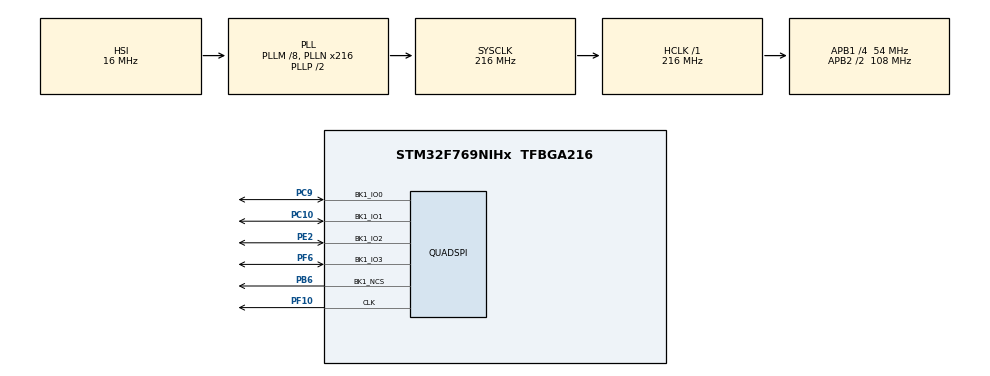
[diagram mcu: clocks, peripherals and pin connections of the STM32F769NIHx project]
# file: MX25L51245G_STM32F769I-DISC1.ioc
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Mcu.Family=STM32F7
Mcu.Name=STM32F769NIHx
Mcu.Package=TFBGA216
NVIC.PriorityGroup=NVIC_PRIORITYGROUP_4
PB6.Mode=Single Bank 1
PB6.Signal=QUADSPI_BK1_NCS
PC10.Mode=Single Bank 1
PC10.Signal=QUADSPI_BK1_IO1
PC9.Mode=Single Bank 1
PC9.Signal=QUADSPI_BK1_IO0
PE2.Mode=Single Bank 1
PE2.Signal=QUADSPI_BK1_IO2
PF10.Mode=Single Bank 1
PF10.Signal=QUADSPI_CLK
PF6.Mode=Single Bank 1
PF6.Signal=QUADSPI_BK1_IO3
PH0/OSC_IN.Mode=HSE-External-Oscillator
PH0/OSC_IN.Signal=RCC_OSC_IN
PH1/OSC_OUT.Mode=HSE-External-Oscillator
PH1/OSC_OUT.Signal=RCC_OSC_OUT
ProjectManager.HeapSize=0x200
ProjectManager.StackSize=0x400
ProjectManager.TargetToolchain=STM32CubeIDE
QUADSPI.ClockPrescaler=1
QUADSPI.FifoThreshold=4
QUADSPI.FlashSize=25
RCC.AHBFreq_Value=216000000
RCC.APB1CLKDivider=RCC_HCLK_DIV4
RCC.APB1Freq_Value=54000000
RCC.APB1TimFreq_Value=108000000
RCC.APB2CLKDivider=RCC_HCLK_DIV2
RCC.APB2Freq_Value=108000000
RCC.APB2TimFreq_Value=216000000
RCC.CortexFreq_Value=216000000
RCC.HCLKFreq_Value=216000000
RCC.PLLM=8
RCC.PLLN=216
RCC.SYSCLKFreq_VALUE=216000000
RCC.SYSCLKSource=RCC_SYSCLKSOURCE_PLLCLK
RCC.USBFreq_Value=216000000
RCC.VCOOutputFreq_Value=432000000
board=custom

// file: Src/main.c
/* USER CODE BEGIN Header */
/**
  ******************************************************************************
  * @file           : main.c
  * @brief          : Main program body
  ******************************************************************************
  * @attention
  *
  * <h2><center>&copy; Copyright (c) 2019 STMicroelectronics.
  * All rights reserved.</center></h2>
  *
  * This software component is licensed by ST under BSD 3-Clause license,
  * the "License"; You may not use this file except in compliance with the
  * License. You may obtain a copy of the License at:
  *                        opensource.org/licenses/BSD-3-Clause
  *
  ******************************************************************************
  */
/* USER CODE END Header */

#include "main.h"
#include "quadspi.h"
#include "gpio.h"

/* USER CODE BEGIN Includes */
#include <string.h>
#include "QSPI_if.h"
/* USER CODE END Includes */

void SystemClock_Config(void);

int main(void)
{
  /* USER CODE BEGIN 1 */
	uint8_t buffer[] = { "QSPI test with STM32F769 discovery board"};

  /* USER CODE END 1 */

  /* MCU Configuration--------------------------------------------------------*/

  /* Reset of all peripherals, Initializes the Flash interface and the Systick. */
  HAL_Init();

  /* Configure the system clock */
  SystemClock_Config();

  /* Initialize all configured peripherals */
  MX_GPIO_Init();
  MX_QUADSPI_Init();
  /* USER CODE BEGIN 2 */
  QSPI_ResetChip();
  QSPI_AutoPollingMemReady();
  QSPI_WriteEnable();
  QSPI_Configuration();
  QSPI_AutoPollingMemReady();
  QSPI_WriteEnable();
  QSPI_EraseSector(0, 1000);
  QSPI_AutoPollingMemReady();
  QSPI_WriteEnable();
  QSPI_WriteMemory(buffer, 0, sizeof(buffer));
  QSPI_AutoPollingMemReady();
  QSPI_EnableMemoryMappedMode();

  /* USER CODE END 2 */

  /* Infinite loop */
  while (1)
  {

  }
}

void SystemClock_Config(void)
{
  RCC_OscInitTypeDef RCC_OscInitStruct = {0};
  RCC_ClkInitTypeDef RCC_ClkInitStruct = {0};

  /** Configure the main internal regulator output voltage
  */
  __HAL_RCC_PWR_CLK_ENABLE();
  __HAL_PWR_VOLTAGESCALING_CONFIG(PWR_REGULATOR_VOLTAGE_SCALE1);
  /** Initializes the CPU, AHB and APB busses clocks
  */
  RCC_OscInitStruct.OscillatorType = RCC_OSCILLATORTYPE_HSI;
  RCC_OscInitStruct.HSIState = RCC_HSI_ON;
  RCC_OscInitStruct.HSICalibrationValue = RCC_HSICALIBRATION_DEFAULT;
  RCC_OscInitStruct.PLL.PLLState = RCC_PLL_ON;
  RCC_OscInitStruct.PLL.PLLSource = RCC_PLLSOURCE_HSI;
  RCC_OscInitStruct.PLL.PLLM = 8;
  RCC_OscInitStruct.PLL.PLLN = 216;
  RCC_OscInitStruct.PLL.PLLP = RCC_PLLP_DIV2;
  RCC_OscInitStruct.PLL.PLLQ = 2;
  if (HAL_RCC_OscConfig(&RCC_OscInitStruct) != HAL_OK)
  {
    Error_Handler();
  }
  /** Activate the Over-Drive mode
  */
  if (HAL_PWREx_EnableOverDrive() != HAL_OK)
  {
    Error_Handler();
  }
  /** Initializes the CPU, AHB and APB busses clocks
  */
  RCC_ClkInitStruct.ClockType = RCC_CLOCKTYPE_HCLK|RCC_CLOCKTYPE_SYSCLK
                              |RCC_CLOCKTYPE_PCLK1|RCC_CLOCKTYPE_PCLK2;
  RCC_ClkInitStruct.SYSCLKSource = RCC_SYSCLKSOURCE_PLLCLK;
  RCC_ClkInitStruct.AHBCLKDivider = RCC_SYSCLK_DIV1;
  RCC_ClkInitStruct.APB1CLKDivider = RCC_HCLK_DIV4;
  RCC_ClkInitStruct.APB2CLKDivider = RCC_HCLK_DIV2;

  if (HAL_RCC_ClockConfig(&RCC_ClkInitStruct, FLASH_LATENCY_7) != HAL_OK)
  {
    Error_Handler();
  }
}

void Error_Handler(void)
{
}

/************************ (C) COPYRIGHT STMicroelectronics *****END OF FILE****/
